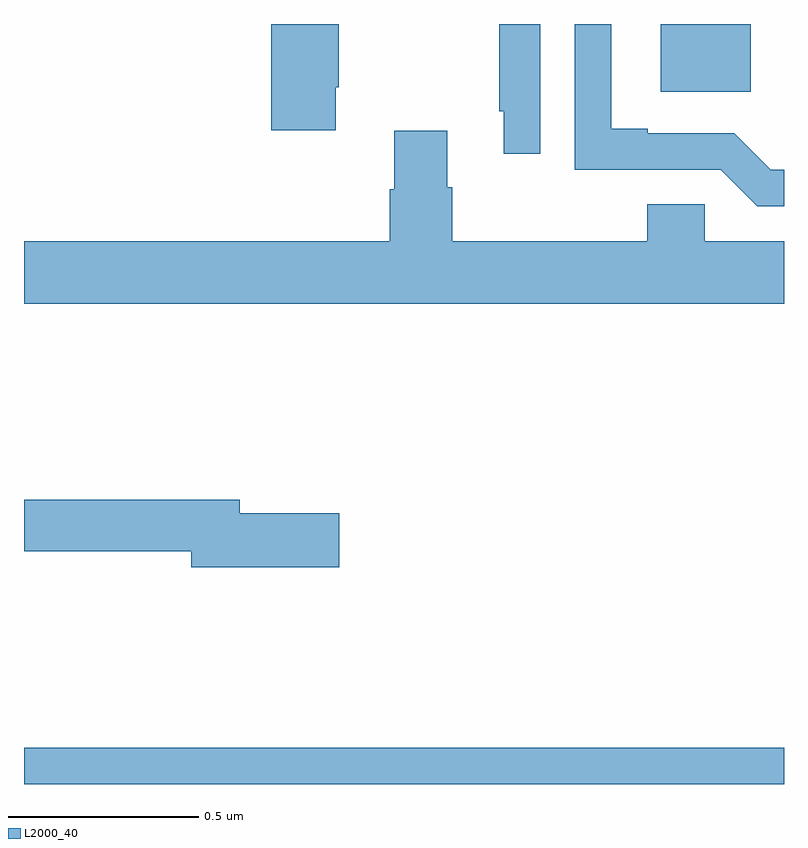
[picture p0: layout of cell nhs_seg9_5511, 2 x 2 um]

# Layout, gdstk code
import gdstk
lib = gdstk.Library(unit=1e-6, precision=1e-09)
def R(c, l, rs):  # rectangles x0, y0, x1, y1
    for r in rs: c.add(gdstk.rectangle(r[:2], r[2:], *l))
def P(c, l, *ps):  # polygons
    for p in ps: c.add(gdstk.Polygon(p, *l))
L2000_40 = (2000, 40)

nhs_seg9_5511 = lib.new_cell('nhs_seg9_5511')
R(nhs_seg9_5511, L2000_40, [(180,1184.5,182,1184.596), (181.676,1186.322,181.912,1186.5)])
P(nhs_seg9_5511, L2000_40, [(180.82,1186.333),(180.828,1186.333),(180.828,1186.5),(180.65,1186.5),(180.65,1186.221),(180.82,1186.221)],
  [(181.359,1186.5),(181.251,1186.5),(181.251,1186.27),(181.262,1186.27),(181.262,1186.158),(181.359,1186.158)],
  [(182,1186.116),(181.965,1186.116),(181.869,1186.212),(181.642,1186.212),(181.642,1186.225),(181.546,1186.225),(181.546,1186.5),(181.449,1186.5),(181.449,1186.116),(181.833,1186.116),(181.929,1186.02),(182,1186.02)],
  [(182,1185.928),(181.791,1185.928),(181.791,1186.026),(181.64,1186.026),(181.64,1185.928),(181.127,1185.928),(181.127,1186.07),(181.114,1186.07),(181.114,1186.219),(180.974,1186.219),(180.974,1186.065),(180.962,1186.065),(180.962,1185.928),(180,1185.928),(180,1185.764),(182,1185.764)],
  [(180.829,1185.212),(180.568,1185.212),(180.568,1185.248),(180,1185.248),(180,1185.112),(180.44,1185.112),(180.44,1185.07),(180.829,1185.07)])

lib.write_gds('nhs_seg9_5511.gds')
